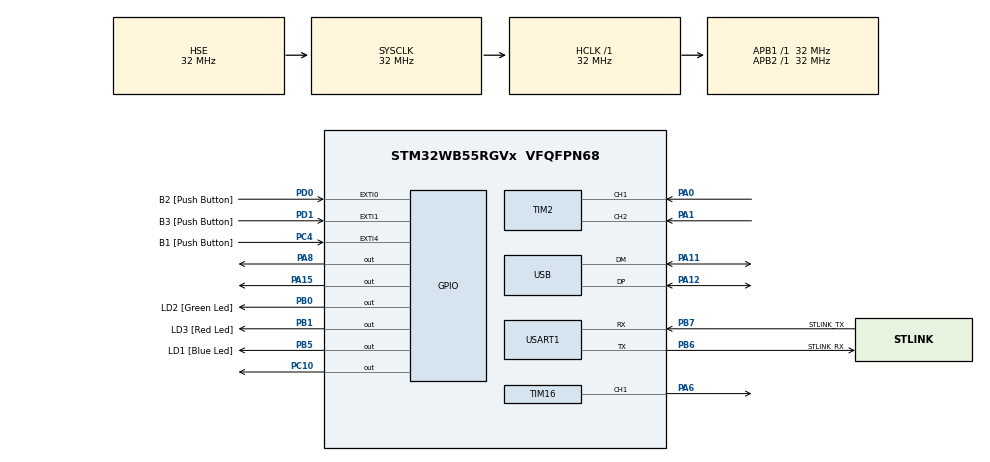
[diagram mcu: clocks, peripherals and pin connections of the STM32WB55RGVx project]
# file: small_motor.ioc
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Mcu.Family=STM32WB
Mcu.Name=STM32WB55RGVx
Mcu.Package=VFQFPN68
NVIC.EXTI0_IRQn=true\:0\:0\:false\:false\:true\:true\:true\:true
NVIC.EXTI1_IRQn=true\:0\:0\:false\:false\:true\:true\:true\:true
NVIC.EXTI4_IRQn=true\:0\:0\:false\:false\:true\:true\:true\:true
NVIC.PriorityGroup=NVIC_PRIORITYGROUP_4
OSC_IN.Mode=HSE-External-Oscillator
OSC_IN.Signal=RCC_OSC_IN
OSC_OUT.Mode=HSE-External-Oscillator
OSC_OUT.Signal=RCC_OSC_OUT
PA0.Signal=S_TIM2_CH1
PA1.Signal=S_TIM2_CH2
PA11.Mode=Device
PA11.Signal=USB_DM
PA12.Mode=Device
PA12.Signal=USB_DP
PA13.GPIO_Label=JTMS
PA13.Mode=Trace_Asynchronous_SW
PA13.Signal=SYS_JTMS-SWDIO
PA14.GPIO_Label=JTCK
PA14.Mode=Trace_Asynchronous_SW
PA14.Signal=SYS_JTCK-SWCLK
PA15.Signal=GPIO_Output
PA6.Signal=S_TIM16_CH1
PA8.Signal=GPIO_Output
PB0.GPIO_Label=LD2 [Green Led]
PB0.Signal=GPIO_Output
PB1.GPIO_Label=LD3 [Red Led]
PB1.Signal=GPIO_Output
PB3.GPIO_Label=JTDO
PB3.Mode=Trace_Asynchronous_SW
PB3.Signal=SYS_JTDO-SWO
PB5.GPIO_Label=LD1 [Blue Led]
PB5.Signal=GPIO_Output
PB6.GPIO_Label=STLINK_RX
PB6.GPIO_PuPd=GPIO_PULLUP
PB6.Mode=Asynchronous
PB6.Signal=USART1_TX
PB7.GPIO_Label=STLINK_TX
PB7.GPIO_PuPd=GPIO_PULLUP
PB7.Mode=Asynchronous
PB7.Signal=USART1_RX
PC10.Signal=GPIO_Output
PC13.Mode=SYS_WakeUp1
PC13.Signal=SYS_WKUP2
PC14-OSC32_IN.Mode=LSE-External-Oscillator
PC14-OSC32_IN.Signal=RCC_OSC32_IN
PC15-OSC32_OUT.Mode=LSE-External-Oscillator
PC15-OSC32_OUT.Signal=RCC_OSC32_OUT
PC4.GPIO_Label=B1 [Push Button]
PC4.GPIO_PuPd=GPIO_PULLUP
PC4.Signal=GPXTI4
PD0.GPIO_Label=B2 [Push Button]
PD0.GPIO_PuPd=GPIO_PULLUP
PD0.Signal=GPXTI0
PD1.GPIO_Label=B3 [Push Button]
PD1.GPIO_PuPd=GPIO_PULLUP
PD1.Signal=GPXTI1
ProjectManager.HeapSize=0x200
ProjectManager.StackSize=0x400
ProjectManager.TargetToolchain=STM32CubeIDE
RCC.ADCFreq_Value=48000000
RCC.AHBFreq_Value=32000000
RCC.APB1Freq_Value=32000000
RCC.APB1TimFreq_Value=32000000
RCC.APB2Freq_Value=32000000
RCC.APB2TimFreq_Value=32000000
RCC.APB3Freq_Value=16000000
RCC.CortexFreq_Value=32000000
RCC.HCLKFreq_Value=32000000
RCC.HSE_VALUE=32000000
RCC.HSI48_VALUE=48000000
RCC.HSI_VALUE=16000000
RCC.LSE_Drive_Capability=RCC_LSEDRIVE_LOW
RCC.PLLN=32
RCC.PLLSAI1N=24
RCC.SMPSCLockSelectionVirtual=RCC_SMPSCLKSOURCE_HSI
RCC.SMPSCLockSelectionVirtualVirtual=RCC_SMPSCLKSOURCE_HSI
RCC.SMPSDivider=1
RCC.SYSCLKFreq_VALUE=32000000
RCC.SYSCLKSource=RCC_SYSCLKSOURCE_HSE
RCC.USBFreq_Value=48000000
RCC.VCOOutputFreq_Value=128000000
SH.S_TIM16_CH1.0=TIM16_CH1,PWM Generation1 CH1
SH.S_TIM2_CH1.0=TIM2_CH1,Encoder_Interface
SH.S_TIM2_CH2.0=TIM2_CH2,Encoder_Interface
TIM16.AutoReloadPreload=TIM_AUTORELOAD_PRELOAD_ENABLE
TIM16.Channel=TIM_CHANNEL_1
TIM16.Period=255
TIM2.AutoReloadPreload=TIM_AUTORELOAD_PRELOAD_ENABLE
TIM2.EncoderMode=TIM_ENCODERMODE_TI12
USART1.VirtualMode-Asynchronous=VM_ASYNC
USART1.WordLength=WORDLENGTH_8B
VP_MEMORYMAP_VS_MEMORYMAP.Mode=CurAppReg
VP_TIM16_VS_ClockSourceINT.Mode=Enable_Timer
board=NUCLEO-WB55RG

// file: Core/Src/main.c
/* USER CODE BEGIN Header */
/**
  ******************************************************************************
  * @file           : main.c
  * @brief          : Main program body
  ******************************************************************************
  * @attention
  *
  * Copyright (c) 2024 STMicroelectronics.
  * All rights reserved.
  *
  * This software is licensed under terms that can be found in the LICENSE file
  * in the root directory of this software component.
  * If no LICENSE file comes with this software, it is provided AS-IS.
  *
  ******************************************************************************
  */
/* USER CODE END Header */
#include "main.h"

/* USER CODE BEGIN Includes */
#include <stdio.h>
/* USER CODE END Includes */

/* USER CODE BEGIN PTD */
typedef struct{
	int16_t velocity;
	int64_t position;
	uint32_t last_counter_value;
}encoder_instance;
/* USER CODE END PTD */

/* USER CODE BEGIN PD */
#define PPR 7
#define GEAR_RATIO 3.7
/* USER CODE END PD */

TIM_HandleTypeDef htim2;
TIM_HandleTypeDef htim16;

UART_HandleTypeDef huart1;

PCD_HandleTypeDef hpcd_USB_FS;

/* USER CODE BEGIN PV */
uint32_t state;
uint32_t state_changed;
encoder_instance motor_instance;
/* USER CODE END PV */

void SystemClock_Config(void);
void PeriphCommonClock_Config(void);
static void MX_GPIO_Init(void);
static void MX_USART1_UART_Init(void);
static void MX_USB_PCD_Init(void);
static void MX_TIM2_Init(void);
static void MX_TIM16_Init(void);
/* USER CODE BEGIN PFP */
void Rot_CW_PWM(uint32_t);
void Rot_CCW_PWM(uint32_t);
void Set_CW();
void Set_CCW();
void Stop_Motor();
uint16_t Get_Speed();
uint16_t Read_Speed();
void Set_Speed(uint32_t);
void Update_PWM(uint32_t);
void Red_On();
void Red_Off();
void Green_On();
void Green_Off();
void Blue_On();
void Blue_Off();
/* USER CODE END PFP */

int main(void)
{

  /* MCU Configuration--------------------------------------------------------*/

  /* Reset of all peripherals, Initializes the Flash interface and the Systick. */
  HAL_Init();

  /* Configure the system clock */
  SystemClock_Config();

/* Configure the peripherals common clocks */
  PeriphCommonClock_Config();

  /* Initialize all configured peripherals */
  MX_GPIO_Init();
  MX_USART1_UART_Init();
  MX_USB_PCD_Init();
  MX_TIM2_Init();
  MX_TIM16_Init();
  /* USER CODE BEGIN 2 */
  HAL_TIM_PWM_Start(&htim16, TIM_CHANNEL_1);
  HAL_TIM_Encoder_Start(&htim2, TIM_CHANNEL_ALL); //really just channel 1 and 2 because that is what the encoder uses
  Rot_CW_PWM(0);
  Stop_Motor();
  state = 0;
  state_changed = 0;
  /* USER CODE END 2 */

  /* Infinite loop */
  /* USER CODE BEGIN WHILE */
  while (1)
  {
	  if (state == 0){ //stopped //fast
		  if (state_changed == 1)
		  {
			  Stop_Motor();
			  state_changed = 0;
		  }
		  Blue_On();
		  Green_Off();
		  Red_Off();

		  //Update_PWM(100);
	  }
	  else if (state == 1){ //CW //faster
		  if (state_changed == 1)
		  {
			  Set_CW();
			  state_changed = 0;

			  //Update_PWM(50);
			  Set_Speed(800);
			  uint8_t done[] = "Done\r\n";
			  HAL_UART_Transmit(&huart1,done, sizeof(done),10);
		  }
		  Blue_Off();
		  Green_On();
		  Red_Off();

		  //Update_PWM(100);
	  }
	  else if (state == 2){//CCW //slower
		  if (state_changed == 1)
		  {
			  //Set_CCW();
			  state_changed = 0;

			  uint16_t speed = Get_Speed();
			  char Test[50];
			  int size = sprintf(Test, "%d", speed);
			  HAL_UART_Transmit(&huart1,(uint8_t*)Test, size,10);
			  uint8_t new_line[] = "\r\n";
			  HAL_UART_Transmit(&huart1,new_line, sizeof(new_line),10);

			  //Update_PWM(100);
		  }

		  Blue_Off();
		  Green_Off();
		  Red_On();
		  /*
		  Blue_Off();
		  Green_Off();
		  Red_On();
		  Update_PWM(40);*/

	  }
	  else{
		  state = 0;
	  }
    /* USER CODE END WHILE */

  }
}

void SystemClock_Config(void)
{
  RCC_OscInitTypeDef RCC_OscInitStruct = {0};
  RCC_ClkInitTypeDef RCC_ClkInitStruct = {0};

  /** Macro to configure the PLL multiplication factor
  */
  __HAL_RCC_PLL_PLLM_CONFIG(RCC_PLLM_DIV1);

  /** Macro to configure the PLL clock source
  */
  __HAL_RCC_PLL_PLLSOURCE_CONFIG(RCC_PLLSOURCE_MSI);

  /** Configure LSE Drive Capability
  */
  HAL_PWR_EnableBkUpAccess();
  __HAL_RCC_LSEDRIVE_CONFIG(RCC_LSEDRIVE_LOW);

  /** Configure the main internal regulator output voltage
  */
  __HAL_PWR_VOLTAGESCALING_CONFIG(PWR_REGULATOR_VOLTAGE_SCALE1);

  /** Initializes the RCC Oscillators according to the specified parameters
  * in the RCC_OscInitTypeDef structure.
  */
  RCC_OscInitStruct.OscillatorType = RCC_OSCILLATORTYPE_HSI|RCC_OSCILLATORTYPE_HSE
                              |RCC_OSCILLATORTYPE_LSE|RCC_OSCILLATORTYPE_MSI;
  RCC_OscInitStruct.HSEState = RCC_HSE_ON;
  RCC_OscInitStruct.LSEState = RCC_LSE_ON;
  RCC_OscInitStruct.HSIState = RCC_HSI_ON;
  RCC_OscInitStruct.MSIState = RCC_MSI_ON;
  RCC_OscInitStruct.HSICalibrationValue = RCC_HSICALIBRATION_DEFAULT;
  RCC_OscInitStruct.MSICalibrationValue = RCC_MSICALIBRATION_DEFAULT;
  RCC_OscInitStruct.MSIClockRange = RCC_MSIRANGE_6;
  RCC_OscInitStruct.PLL.PLLState = RCC_PLL_NONE;
  if (HAL_RCC_OscConfig(&RCC_OscInitStruct) != HAL_OK)
  {
    Error_Handler();
  }

  /** Configure the SYSCLKSource, HCLK, PCLK1 and PCLK2 clocks dividers
  */
  RCC_ClkInitStruct.ClockType = RCC_CLOCKTYPE_HCLK4|RCC_CLOCKTYPE_HCLK2
                              |RCC_CLOCKTYPE_HCLK|RCC_CLOCKTYPE_SYSCLK
                              |RCC_CLOCKTYPE_PCLK1|RCC_CLOCKTYPE_PCLK2;
  RCC_ClkInitStruct.SYSCLKSource = RCC_SYSCLKSOURCE_HSE;
  RCC_ClkInitStruct.AHBCLKDivider = RCC_SYSCLK_DIV1;
  RCC_ClkInitStruct.APB1CLKDivider = RCC_HCLK_DIV1;
  RCC_ClkInitStruct.APB2CLKDivider = RCC_HCLK_DIV1;
  RCC_ClkInitStruct.AHBCLK2Divider = RCC_SYSCLK_DIV1;
  RCC_ClkInitStruct.AHBCLK4Divider = RCC_SYSCLK_DIV1;

  if (HAL_RCC_ClockConfig(&RCC_ClkInitStruct, FLASH_LATENCY_1) != HAL_OK)
  {
    Error_Handler();
  }

  /** Enable MSI Auto calibration
  */
  HAL_RCCEx_EnableMSIPLLMode();
}

void PeriphCommonClock_Config(void)
{
  RCC_PeriphCLKInitTypeDef PeriphClkInitStruct = {0};

  /** Initializes the peripherals clock
  */
  PeriphClkInitStruct.PeriphClockSelection = RCC_PERIPHCLK_SMPS;
  PeriphClkInitStruct.SmpsClockSelection = RCC_SMPSCLKSOURCE_HSI;
  PeriphClkInitStruct.SmpsDivSelection = RCC_SMPSCLKDIV_RANGE0;

  if (HAL_RCCEx_PeriphCLKConfig(&PeriphClkInitStruct) != HAL_OK)
  {
    Error_Handler();
  }
}

static void MX_TIM2_Init(void)
{

  TIM_Encoder_InitTypeDef sConfig = {0};
  TIM_MasterConfigTypeDef sMasterConfig = {0};

  htim2.Instance = TIM2;
  htim2.Init.Prescaler = 0;
  htim2.Init.CounterMode = TIM_COUNTERMODE_UP;
  htim2.Init.Period = 4294967295;
  htim2.Init.ClockDivision = TIM_CLOCKDIVISION_DIV1;
  htim2.Init.AutoReloadPreload = TIM_AUTORELOAD_PRELOAD_ENABLE;
  sConfig.EncoderMode = TIM_ENCODERMODE_TI12;
  sConfig.IC1Polarity = TIM_ICPOLARITY_RISING;
  sConfig.IC1Selection = TIM_ICSELECTION_DIRECTTI;
  sConfig.IC1Prescaler = TIM_ICPSC_DIV1;
  sConfig.IC1Filter = 0;
  sConfig.IC2Polarity = TIM_ICPOLARITY_RISING;
  sConfig.IC2Selection = TIM_ICSELECTION_DIRECTTI;
  sConfig.IC2Prescaler = TIM_ICPSC_DIV1;
  sConfig.IC2Filter = 0;
  if (HAL_TIM_Encoder_Init(&htim2, &sConfig) != HAL_OK)
  {
    Error_Handler();
  }
  sMasterConfig.MasterOutputTrigger = TIM_TRGO_RESET;
  sMasterConfig.MasterSlaveMode = TIM_MASTERSLAVEMODE_DISABLE;
  if (HAL_TIMEx_MasterConfigSynchronization(&htim2, &sMasterConfig) != HAL_OK)
  {
    Error_Handler();
  }

}

static void MX_TIM16_Init(void)
{

  TIM_OC_InitTypeDef sConfigOC = {0};
  TIM_BreakDeadTimeConfigTypeDef sBreakDeadTimeConfig = {0};

  htim16.Instance = TIM16;
  htim16.Init.Prescaler = 0;
  htim16.Init.CounterMode = TIM_COUNTERMODE_UP;
  htim16.Init.Period = 255;
  htim16.Init.ClockDivision = TIM_CLOCKDIVISION_DIV1;
  htim16.Init.RepetitionCounter = 0;
  htim16.Init.AutoReloadPreload = TIM_AUTORELOAD_PRELOAD_ENABLE;
  if (HAL_TIM_Base_Init(&htim16) != HAL_OK)
  {
    Error_Handler();
  }
  if (HAL_TIM_PWM_Init(&htim16) != HAL_OK)
  {
    Error_Handler();
  }
  sConfigOC.OCMode = TIM_OCMODE_PWM1;
  sConfigOC.Pulse = 0;
  sConfigOC.OCPolarity = TIM_OCPOLARITY_HIGH;
  sConfigOC.OCNPolarity = TIM_OCNPOLARITY_HIGH;
  sConfigOC.OCFastMode = TIM_OCFAST_DISABLE;
  sConfigOC.OCIdleState = TIM_OCIDLESTATE_RESET;
  sConfigOC.OCNIdleState = TIM_OCNIDLESTATE_RESET;
  if (HAL_TIM_PWM_ConfigChannel(&htim16, &sConfigOC, TIM_CHANNEL_1) != HAL_OK)
  {
    Error_Handler();
  }
  sBreakDeadTimeConfig.OffStateRunMode = TIM_OSSR_DISABLE;
  sBreakDeadTimeConfig.OffStateIDLEMode = TIM_OSSI_DISABLE;
  sBreakDeadTimeConfig.LockLevel = TIM_LOCKLEVEL_OFF;
  sBreakDeadTimeConfig.DeadTime = 0;
  sBreakDeadTimeConfig.BreakState = TIM_BREAK_DISABLE;
  sBreakDeadTimeConfig.BreakPolarity = TIM_BREAKPOLARITY_HIGH;
  sBreakDeadTimeConfig.BreakFilter = 0;
  sBreakDeadTimeConfig.AutomaticOutput = TIM_AUTOMATICOUTPUT_DISABLE;
  if (HAL_TIMEx_ConfigBreakDeadTime(&htim16, &sBreakDeadTimeConfig) != HAL_OK)
  {
    Error_Handler();
  }
  HAL_TIM_MspPostInit(&htim16);

}

static void MX_USART1_UART_Init(void)
{

  huart1.Instance = USART1;
  huart1.Init.BaudRate = 115200;
  huart1.Init.WordLength = UART_WORDLENGTH_8B;
  huart1.Init.StopBits = UART_STOPBITS_1;
  huart1.Init.Parity = UART_PARITY_NONE;
  huart1.Init.Mode = UART_MODE_TX_RX;
  huart1.Init.HwFlowCtl = UART_HWCONTROL_NONE;
  huart1.Init.OverSampling = UART_OVERSAMPLING_16;
  huart1.Init.OneBitSampling = UART_ONE_BIT_SAMPLE_DISABLE;
  huart1.Init.ClockPrescaler = UART_PRESCALER_DIV1;
  huart1.AdvancedInit.AdvFeatureInit = UART_ADVFEATURE_NO_INIT;
  if (HAL_UART_Init(&huart1) != HAL_OK)
  {
    Error_Handler();
  }
  if (HAL_UARTEx_SetTxFifoThreshold(&huart1, UART_TXFIFO_THRESHOLD_1_8) != HAL_OK)
  {
    Error_Handler();
  }
  if (HAL_UARTEx_SetRxFifoThreshold(&huart1, UART_RXFIFO_THRESHOLD_1_8) != HAL_OK)
  {
    Error_Handler();
  }
  if (HAL_UARTEx_DisableFifoMode(&huart1) != HAL_OK)
  {
    Error_Handler();
  }

}

static void MX_USB_PCD_Init(void)
{

  hpcd_USB_FS.Instance = USB;
  hpcd_USB_FS.Init.dev_endpoints = 8;
  hpcd_USB_FS.Init.speed = PCD_SPEED_FULL;
  hpcd_USB_FS.Init.phy_itface = PCD_PHY_EMBEDDED;
  hpcd_USB_FS.Init.Sof_enable = DISABLE;
  hpcd_USB_FS.Init.low_power_enable = DISABLE;
  hpcd_USB_FS.Init.lpm_enable = DISABLE;
  hpcd_USB_FS.Init.battery_charging_enable = DISABLE;
  if (HAL_PCD_Init(&hpcd_USB_FS) != HAL_OK)
  {
    Error_Handler();
  }

}

static void MX_GPIO_Init(void)
{
  GPIO_InitTypeDef GPIO_InitStruct = {0};

  /* GPIO Ports Clock Enable */
  __HAL_RCC_GPIOC_CLK_ENABLE();
  __HAL_RCC_GPIOA_CLK_ENABLE();
  __HAL_RCC_GPIOB_CLK_ENABLE();
  __HAL_RCC_GPIOD_CLK_ENABLE();

  /*Configure GPIO pin Output Level */
  HAL_GPIO_WritePin(GPIOA, GPIO_PIN_8|GPIO_PIN_15, GPIO_PIN_RESET);

  /*Configure GPIO pin Output Level */
  HAL_GPIO_WritePin(GPIOB, LD2_Pin|LD3_Pin|LD1_Pin, GPIO_PIN_RESET);

  /*Configure GPIO pin Output Level */
  HAL_GPIO_WritePin(GPIOC, GPIO_PIN_10, GPIO_PIN_RESET);

  /*Configure GPIO pins : PA8 PA15 */
  GPIO_InitStruct.Pin = GPIO_PIN_8|GPIO_PIN_15;
  GPIO_InitStruct.Mode = GPIO_MODE_OUTPUT_PP;
  GPIO_InitStruct.Pull = GPIO_NOPULL;
  GPIO_InitStruct.Speed = GPIO_SPEED_FREQ_LOW;
  HAL_GPIO_Init(GPIOA, &GPIO_InitStruct);

  /*Configure GPIO pin : B1_Pin */
  GPIO_InitStruct.Pin = B1_Pin;
  GPIO_InitStruct.Mode = GPIO_MODE_IT_RISING;
  GPIO_InitStruct.Pull = GPIO_PULLUP;
  HAL_GPIO_Init(B1_GPIO_Port, &GPIO_InitStruct);

  /*Configure GPIO pins : LD2_Pin LD3_Pin LD1_Pin */
  GPIO_InitStruct.Pin = LD2_Pin|LD3_Pin|LD1_Pin;
  GPIO_InitStruct.Mode = GPIO_MODE_OUTPUT_PP;
  GPIO_InitStruct.Pull = GPIO_NOPULL;
  GPIO_InitStruct.Speed = GPIO_SPEED_FREQ_LOW;
  HAL_GPIO_Init(GPIOB, &GPIO_InitStruct);

  /*Configure GPIO pin : PC10 */
  GPIO_InitStruct.Pin = GPIO_PIN_10;
  GPIO_InitStruct.Mode = GPIO_MODE_OUTPUT_PP;
  GPIO_InitStruct.Pull = GPIO_NOPULL;
  GPIO_InitStruct.Speed = GPIO_SPEED_FREQ_LOW;
  HAL_GPIO_Init(GPIOC, &GPIO_InitStruct);

  /*Configure GPIO pins : B2_Pin B3_Pin */
  GPIO_InitStruct.Pin = B2_Pin|B3_Pin;
  GPIO_InitStruct.Mode = GPIO_MODE_IT_RISING;
  GPIO_InitStruct.Pull = GPIO_PULLUP;
  HAL_GPIO_Init(GPIOD, &GPIO_InitStruct);

  /* EXTI interrupt init*/
  HAL_NVIC_SetPriority(EXTI0_IRQn, 0, 0);
  HAL_NVIC_EnableIRQ(EXTI0_IRQn);

  HAL_NVIC_SetPriority(EXTI1_IRQn, 0, 0);
  HAL_NVIC_EnableIRQ(EXTI1_IRQn);

  HAL_NVIC_SetPriority(EXTI4_IRQn, 0, 0);
  HAL_NVIC_EnableIRQ(EXTI4_IRQn);

}

/* USER CODE BEGIN 4 */
void Rot_CW_PWM(uint32_t duty) //facing motor end
{
	Set_CW();
	Update_PWM(duty);
}

void Rot_CCW_PWM(uint32_t duty)
{
	Set_CCW();
	Update_PWM(duty);

}

void Set_CW()
{
	HAL_GPIO_WritePin(GPIOA, GPIO_PIN_8, GPIO_PIN_RESET);

	Update_PWM(0);
	HAL_GPIO_WritePin(GPIOA, GPIO_PIN_15, GPIO_PIN_RESET);
	HAL_GPIO_WritePin(GPIOC, GPIO_PIN_10, GPIO_PIN_SET);

	HAL_GPIO_WritePin(GPIOA, GPIO_PIN_8, GPIO_PIN_SET);
	HAL_Delay(500); //so motor doesn't jerk
}

void Set_CCW()
{
	HAL_GPIO_WritePin(GPIOA, GPIO_PIN_8, GPIO_PIN_RESET);

	Update_PWM(0);
	HAL_GPIO_WritePin(GPIOA, GPIO_PIN_15, GPIO_PIN_SET);
	HAL_GPIO_WritePin(GPIOC, GPIO_PIN_10, GPIO_PIN_RESET);

	HAL_GPIO_WritePin(GPIOA, GPIO_PIN_8, GPIO_PIN_SET);
	HAL_Delay(500);
}

void Stop_Motor()
{
	//HAL_GPIO_WritePin(GPIOA, GPIO_PIN_8, GPIO_PIN_RESET);
	Update_PWM(0);
	//HAL_GPIO_WritePin(GPIOA, GPIO_PIN_8, GPIO_PIN_SET);
}

uint16_t Get_Speed() // does not look at direction
{
	uint32_t total = 0;
	uint16_t avg = 0;
	uint8_t readings = 3;
	for (int i = 0; i < readings; i++)
	{
		total += Read_Speed();
		HAL_Delay(2); //Offset
	}

	avg = total/readings;
	return avg;
}

uint16_t Read_Speed() //rpm
{
	//return 5;
	//TIM1->CR1 = 1;
	//uint8_t Test[] = "Starting speed reading\r\n";
	//HAL_UART_Transmit(&huart1,Test, sizeof(Test),10);

	uint32_t period = 50;
	uint16_t speed = 0;
	uint32_t start_counter = __HAL_TIM_GET_COUNTER(&htim2);

	//char Test3[50];
	//int size3 = sprintf(Test3, "start counter= %lu\r\n", start_counter);
	//HAL_UART_Transmit(&huart1,(uint8_t*)Test3, size3,10);

	HAL_Delay(period);
	uint32_t end_counter = __HAL_TIM_GET_COUNTER(&htim2);

	//char Test2[50];
	//int size2 = sprintf(Test2, "end counter=   %lu\r\n", end_counter);
	//HAL_UART_Transmit(&huart1,(uint8_t*)Test2, size2,10);

	if (start_counter == end_counter)
	{
		speed = 0;
	}
	else if (start_counter > end_counter)
	{
		speed = (start_counter - end_counter)*(1000.0/period)*60.0/4/PPR/GEAR_RATIO;
	}
	else //overflow occurred
	{
		speed = (4294967295 - end_counter + start_counter)*(1000.0/period)*60.0/4/PPR/GEAR_RATIO;
	}
	return speed;
}

void Set_Speed(uint32_t goal)
{
	float Kp = 0.03;
	float Ki = 0.04;
	int period = 100;
	int stable = 0;
	int stable_threshold = 5;
	int failures = 0; //to check if it never converges
	int failure_threshold = 50;
	int I = 0;

	do
	{
		int current = Get_Speed();

		  char Test[50];
		  int size = sprintf(Test, "cur speed: %d\r\nfailures: %d\r\n", current, failures);
		  HAL_UART_Transmit(&huart1,(uint8_t*)Test, size,10);

		int error = goal - current;

		int P = error*Kp;
		I = I + error*Ki;
		int duty = P + I;

		char Test2[50];
				  int size2 = sprintf(Test2, "duty: %d\r\n", duty);
				  HAL_UART_Transmit(&huart1,(uint8_t*)Test2, size2,10);

		if (duty < 0)
		{
			duty = 0;
		}
		else if (duty > 100)
		{
			duty = 100;
		}

		Update_PWM(duty);
		HAL_Delay(period);
		if (error < 10 && error > -10)
		{
			stable++;
		}
		else
		{
			stable = 0;
		}
		failures++;

	} while(stable < stable_threshold && failures < failure_threshold);
}

void Update_PWM(uint32_t duty)
{
	uint32_t CCR = (TIM16->ARR)*(duty/100.0);
	//__HAL_TIM_SET_COMPARE(&htim16, TIM_CHANNEL_1, CCR);
	TIM16->CCR1 = CCR;
}

void Red_On()
{
	HAL_GPIO_WritePin(GPIOB, GPIO_PIN_1, GPIO_PIN_SET);
}

void Red_Off()
{
	HAL_GPIO_WritePin(GPIOB, GPIO_PIN_1, GPIO_PIN_RESET);
}

void Green_On()
{
	HAL_GPIO_WritePin(GPIOB, GPIO_PIN_0, GPIO_PIN_SET);
}

void Green_Off()
{
	HAL_GPIO_WritePin(GPIOB, GPIO_PIN_0, GPIO_PIN_RESET);
}

void Blue_On()
{
	HAL_GPIO_WritePin(GPIOB, GPIO_PIN_5, GPIO_PIN_SET);
}

void Blue_Off()
{
	HAL_GPIO_WritePin(GPIOB, GPIO_PIN_5, GPIO_PIN_RESET);
}

void HAL_GPIO_EXTI_Callback(uint16_t GPIO_PIN)
{
	if(GPIO_PIN == B1_Pin){state = 0;}      //10
	else if(GPIO_PIN == B2_Pin){state = 1;} //1
	else if(GPIO_PIN == B3_Pin){state = 2;} //2
	state_changed = 1;
}

void TIM2_IRQHandler(void)
{

}
/* USER CODE END 4 */

void Error_Handler(void)
{
  __disable_irq();
  while (1)
  {
  }
}
